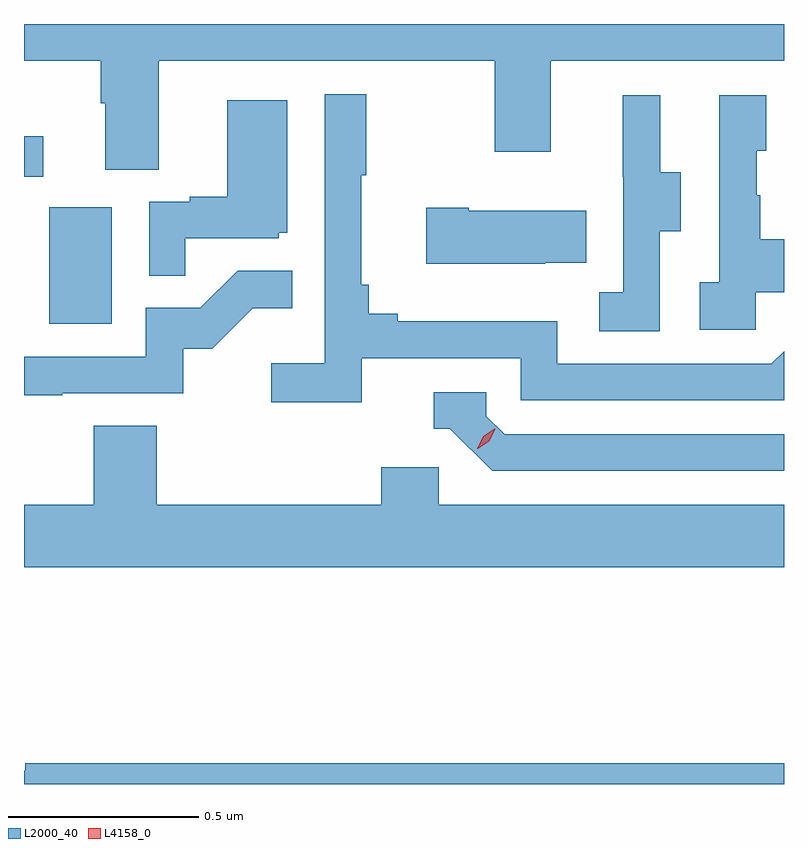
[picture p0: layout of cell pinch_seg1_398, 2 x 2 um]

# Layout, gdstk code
import gdstk
lib = gdstk.Library(unit=1e-6, precision=1e-09)
def R(c, l, rs):  # rectangles x0, y0, x1, y1
    for r in rs: c.add(gdstk.rectangle(r[:2], r[2:], *l))
def P(c, l, *ps):  # polygons
    for p in ps: c.add(gdstk.Polygon(p, *l))
L2000_40 = (2000, 40)
L4158_0 = (4158, 0)

pinch_seg1_398 = lib.new_cell('pinch_seg1_398')
R(pinch_seg1_398, L2000_40, [(988.718,525.732,988.882,526.039), (988.651,526.119,988.702,526.225)])
P(pinch_seg1_398, L2000_40, [(989.005,526.424),(989.89,526.424),(989.89,526.185),(990.037,526.185),(990.037,526.424),(990.651,526.424),(990.651,526.521),(988.651,526.521),(988.651,526.424),(988.853,526.424),(988.853,526.312),(988.865,526.312),(988.865,526.138),(989.005,526.138)],
  [(989.54,525.642),(989.958,525.642),(989.958,525.531),(990.651,525.531),(990.651,525.66),(990.618,525.627),(990.054,525.627),(990.054,525.739),(989.635,525.739),(989.635,525.758),(989.558,525.758),(989.558,525.835),(989.539,525.835),(989.539,526.123),(989.551,526.123),(989.551,526.336),(989.442,526.336),(989.442,525.628),(989.301,525.628),(989.301,525.526),(989.54,525.526)],
  [(990.576,525.815),(990.651,525.815),(990.651,525.955),(990.589,525.955),(990.589,526.07),(990.579,526.07),(990.579,526.188),(990.604,526.188),(990.604,526.333),(990.48,526.333),(990.48,525.842),(990.429,525.842),(990.429,525.717),(990.576,525.717)],
  [(990.324,525.976),(990.379,525.976),(990.379,526.131),(990.325,526.131),(990.325,526.333),(990.227,526.333),(990.227,526.119),(990.228,526.119),(990.228,525.815),(990.165,525.815),(990.165,525.712),(990.324,525.712)],
  [(989.075,525.957),(989.322,525.957),(989.322,525.972),(989.344,525.972),(989.344,526.321),(989.186,526.321),(989.186,526.066),(989.087,526.066),(989.087,526.053),(988.98,526.053),(988.98,525.859),(989.075,525.859)],
  [(990.023,525.893),(990.131,525.893),(990.131,526.03),(989.821,526.03),(989.821,526.038),(989.709,526.038),(989.709,525.89),(990.023,525.89)],
  [(988.751,525.549),(989.07,525.549),(989.07,525.666),(989.146,525.666),(989.253,525.773),(989.357,525.773),(989.357,525.872),(989.213,525.872),(989.115,525.774),(988.971,525.774),(988.971,525.645),(988.651,525.645),(988.651,525.544),(988.751,525.544)],
  [(990.651,525.441),(989.916,525.441),(989.868,525.489),(989.868,525.552),(989.729,525.552),(989.729,525.456),(989.772,525.456),(989.883,525.345),(990.651,525.345)],
  [(990.651,525.256),(989.742,525.256),(989.742,525.354),(989.591,525.354),(989.591,525.256),(989,525.256),(989,525.464),(988.835,525.464),(988.835,525.256),(988.651,525.256),(988.651,525.092),(990.651,525.092)],
  [(990.651,524.576),(988.654,524.576),(988.654,524.556),(988.651,524.556),(988.651,524.521),(990.651,524.521)])
P(pinch_seg1_398, L4158_0, [(989.844,525.403),(989.844,525.403),(989.86,525.436),(989.89,525.456),(989.891,525.456),(989.891,525.456),(989.875,525.423),(989.845,525.403)])

lib.write_gds('pinch_seg1_398.gds')
